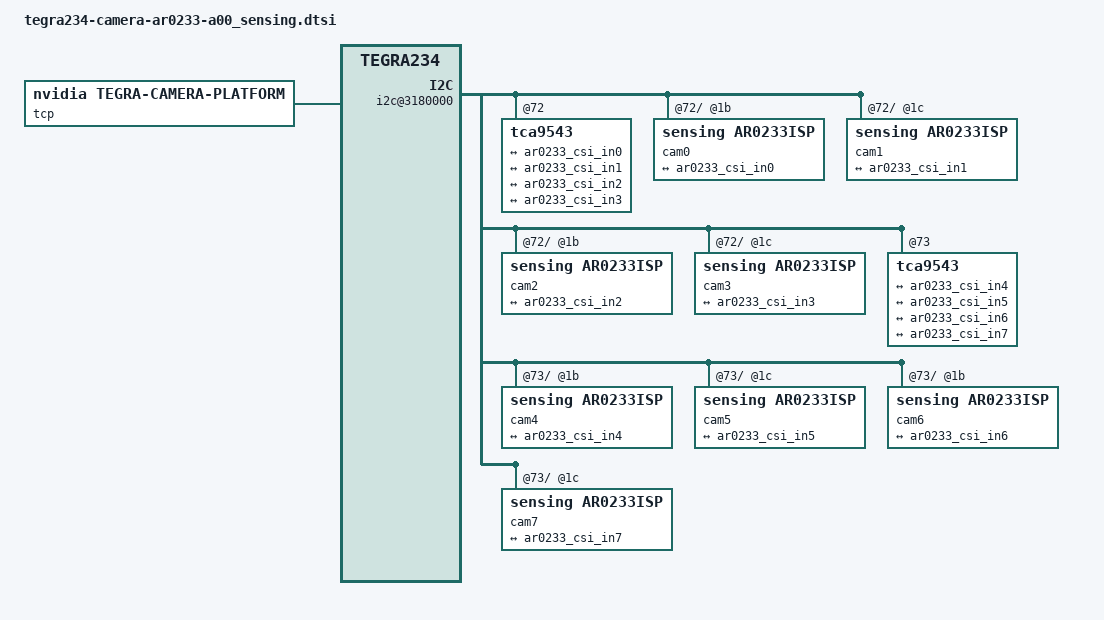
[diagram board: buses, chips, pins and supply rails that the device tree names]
/*
 * Copyright (c) 2018-2021, NVIDIA CORPORATION.  All rights reserved.
 *
 * This program is free software; you can redistribute it and/or modify it
 * under the terms and conditions of the GNU General Public License,
 * version 2, as published by the Free Software Foundation.
 *
 * This program is distributed in the hope it will be useful, but WITHOUT
 * ANY WARRANTY; without even the implied warranty of MERCHANTABILITY or
 * FITNESS FOR A PARTICULAR PURPOSE.  See the GNU General Public License for
 * more details.
 *
 * You should have received a copy of the GNU General Public License
 * along with this program.  If not, see <http://www.gnu.org/licenses/>.
 */
//#include <./tegra234-otocam-camera-all-mode.dtsi>
/ {
	tegra-capture-vi {
		num-channels = <8>;
		ports {
			#address-cells = <1>;
			#size-cells = <0>;
			port@0 {
				reg = <0>;
				ar0233_vi_in0: endpoint {
					vc-id = <0>;
					port-index = <0>;
					bus-width = <4>;
					remote-endpoint = <&ar0233_csi_out0>;
				};
			};
			port@1 {
				reg = <1>;
				ar0233_vi_in1: endpoint {
					vc-id = <1>;
					port-index = <0>;
					bus-width = <4>;
					remote-endpoint = <&ar0233_csi_out1>;
				};
			};
			port@2 {
					reg = <2>;
					ar0233_vi_in2: endpoint {
						vc-id = <0>;
						port-index = <2>;
						bus-width = <4>;
						remote-endpoint = <&ar0233_csi_out2>;
					};
				};
				port@3 {
					reg = <3>;
					ar0233_vi_in3: endpoint {
						vc-id = <1>;
						port-index = <2>;
						bus-width = <4>;
						remote-endpoint = <&ar0233_csi_out3>;
					};
				};
				port@4 {
					reg = <4>;
					ar0233_vi_in4: endpoint {
						vc-id = <0>;
						port-index = <4>;
						bus-width = <4>;
						remote-endpoint = <&ar0233_csi_out4>;
					};
				};
				port@5 {
					reg = <5>;
					ar0233_vi_in5: endpoint {
						vc-id = <1>;
						port-index = <4>;
						bus-width = <4>;
						remote-endpoint = <&ar0233_csi_out5>;
					};
				};
				port@6 {
					reg = <6>;
					ar0233_vi_in6: endpoint {
						vc-id = <0>;
						port-index = <5>;
						bus-width = <4>;
						remote-endpoint = <&ar0233_csi_out6>;
					};
				};
				port@7 {
					reg = <7>;
					ar0233_vi_in7: endpoint {
						vc-id = <1>;
						port-index = <5>;
						bus-width = <4>;
						remote-endpoint = <&ar0233_csi_out7>;
					};
				};
		};
	};

	host1x@13e00000 {
		nvcsi@15a00000 {
			num-channels = <8>;
			#address-cells = <1>;
			#size-cells = <0>;
			channel@0 {
				reg = <0>;
				ports {
					#address-cells = <1>;
					#size-cells = <0>;
					port@0 {
						reg = <0>;
						ar0233_csi_in0: endpoint@0 {
							port-index = <0>;
							bus-width = <4>;
							remote-endpoint = <&ar0233_out0>;
						};
					};
					port@1 {
						reg = <1>;
						ar0233_csi_out0: endpoint@1 {
							remote-endpoint = <&ar0233_vi_in0>;
						};
					};
				};
			};
			channel@1 {
				reg = <1>;
				ports {
					#address-cells = <1>;
					#size-cells = <0>;
					port@0 {
						reg = <0>;
						ar0233_csi_in1: endpoint@2 {
							port-index = <0>;
							bus-width = <4>;
							remote-endpoint = <&ar0233_out1>;
						};
					};
					port@1 {
						reg = <1>;
						ar0233_csi_out1: endpoint@3 {
							remote-endpoint = <&ar0233_vi_in1>;
						};
					};
				};
			};
			channel@2 {
				reg = <2>;
				ports {
					#address-cells = <1>;
					#size-cells = <0>;
					port@0 {
						reg = <0>;
						ar0233_csi_in2: endpoint@4 {
							port-index = <2>;
							bus-width = <4>;
							remote-endpoint = <&ar0233_out2>;
						};
					};
					port@1 {
						reg = <1>;
						ar0233_csi_out2: endpoint@5 {
							remote-endpoint = <&ar0233_vi_in2>;
						};
					};
				};
			};
			channel@3 {
				reg = <3>;
				ports {
					#address-cells = <1>;
					#size-cells = <0>;
					port@0 {
						reg = <0>;
						ar0233_csi_in3: endpoint@6 {
							port-index = <2>;
							bus-width = <4>;
							remote-endpoint = <&ar0233_out3>;
						};
					};
					port@1 {
						reg = <1>;
						ar0233_csi_out3: endpoint@7 {
							remote-endpoint = <&ar0233_vi_in3>;
						};
					};
				};
			};
			channel@4 {
				reg = <4>;
				ports {
					#address-cells = <1>;
					#size-cells = <0>;
					port@0 {
						reg = <0>;
						ar0233_csi_in4: endpoint@8 {
							port-index = <4>;
							bus-width = <4>;
							remote-endpoint = <&ar0233_out4>;
						};
					};
					port@1 {
						reg = <1>;
						ar0233_csi_out4: endpoint@9 {
							remote-endpoint = <&ar0233_vi_in4>;
						};
					};
				};
			};
			channel@5 {
				reg = <5>;
				ports {
					#address-cells = <1>;
					#size-cells = <0>;
					port@0 {
						reg = <0>;
						ar0233_csi_in5: endpoint@10 {
							port-index = <4>;
							bus-width = <4>;
							remote-endpoint = <&ar0233_out5>;
						};
					};
					port@1 {
						reg = <1>;
						ar0233_csi_out5: endpoint@11 {
							remote-endpoint = <&ar0233_vi_in5>;
						};
					};
				};
			};
			channel@6 {
				reg = <6>;
				ports {
					#address-cells = <1>;
					#size-cells = <0>;
					port@0 {
						reg = <0>;
						ar0233_csi_in6: endpoint@12 {
							port-index = <6>;
							bus-width = <4>;
							remote-endpoint = <&ar0233_out6>;
						};
					};
					port@1 {
						reg = <1>;
						ar0233_csi_out6: endpoint@13 {
							remote-endpoint = <&ar0233_vi_in6>;
						};
					};
				};
			};
			channel@7 {
				reg = <7>;
				ports {
					#address-cells = <1>;
					#size-cells = <0>;
					port@0 {
						reg = <0>;
						ar0233_csi_in7: endpoint@14 {
							port-index = <6>;
							bus-width = <4>;
							remote-endpoint = <&ar0233_out7>;
						};
					};
					port@1 {
						reg = <1>;
						ar0233_csi_out7: endpoint@15 {
							remote-endpoint = <&ar0233_vi_in7>;
						};
					};
				};
			};
		};
	};

i2c@3180000 {
		tca9543@72 {
		i2c@0 {
		cam0@1b {
				compatible = "sensing,ar0233isp";

				def-addr = <0x10>;	
				reg_mux = <0x0>;
				/* Physical dimensions of sensor */
				physical_w = "15.0";
				physical_h = "12.5";

				sensor_model ="ar0233";

				/* Defines number of frames to be dropped by driver internally after applying */
				/* sensor crop settings. Some sensors send corrupt frames after applying */
				/* crop co-ordinates */
				post_crop_frame_drop = "0";

				/* Convert Gain to unit of dB (decibel) befor passing to kernel driver */
				//use_decibel_gain = "true";	// FIX:?

				/* enable CID_SENSOR_MODE_ID for sensor modes selection */
				use_sensor_mode_id = "true";
				mode0 {
					mclk_khz = "24000";
					tegra_sinterface = "serial_a";
					vc_id = "0";
					num_lanes = "4";
					discontinuous_clk = "no";
					dpcm_enable = "false";
					cil_settletime = "0";
					mode_type = "yuv";
					pixel_phase = "uyvy";
					csi_pixel_bit_depth = "16";
					dynamic_pixel_bit_depth = "16";

					active_w = "1920";
					active_h = "1080";
					readout_orientation = "0";
					line_length = "2200";
					inherent_gain = "1";
					pix_clk_hz = "74250000";	
					//pix_clk_hz = "74250000";//test
					serdes_pix_clk_hz = "1875000000";

					gain_factor = "100";
					min_gain_val = "100"; /* dB */
					max_gain_val = "800"; /* dB */
					step_gain_val = "1"; /* 0.3 */
					default_gain = "100";
					min_hdr_ratio = "1";
					max_hdr_ratio = "1";
					framerate_factor = "1000000";
					min_framerate = "30000000";
					max_framerate = "30000000";
					step_framerate = "1";
					default_framerate = "30000000";
					exposure_factor = "1000000";
					min_exp_time = "49"; /*us, 2 lines*/
					max_exp_time = "33333";
					step_exp_time = "1";
					default_exp_time = "33333";/* us */
					embedded_metadata_height = "0";
					
				};
				ports {
					#address-cells = <1>;
					#size-cells = <0>;
					port@0 {
						reg = <0>;
						ar0233_out0: endpoint {
							vc-id = <0>;
							port-index = <0>;
							bus-width = <4>;
							remote-endpoint = <&ar0233_csi_in0>;
						};
					};
				};
				gmsl-link {
					src-csi-port = "b";
					dst-csi-port = "a";
					serdes-csi-link = "a";
					csi-mode = "1x4";
					st-vc = <0>;
					vc-id = <0>;
					num-lanes = <4>;
					streams = "yuv8";	// FIX:*
					//streams = "ued-u1", "raw12";	// FIX:-
				};
			};


			cam1@1c{
				compatible = "sensing,ar0233isp";

				def-addr = <0x10>;	// FIX:+
				//reg = <0x1b>;	// FIX:-

				/* Physical dimensions of sensor */
				physical_w = "15.0";
				physical_h = "12.5";
				reg_mux = <0>;
				sensor_model ="ar0233";

				/* Defines number of frames to be dropped by driver internally after applying */
				/* sensor crop settings. Some sensors send corrupt frames after applying */
				/* crop co-ordinates */
				post_crop_frame_drop = "0";

				/* Convert Gain to unit of dB (decibel) befor passing to kernel driver */
				//use_decibel_gain = "true";	// FIX:?

				/* enable CID_SENSOR_MODE_ID for sensor modes selection */
				use_sensor_mode_id = "true";
				mode0 {
					
					tegra_sinterface = "serial_a";
					vc_id = "1";
					mclk_khz = "24000";
					num_lanes = "4";
					discontinuous_clk = "no";
					dpcm_enable = "false";
					cil_settletime = "0";
					mode_type = "yuv";
					pixel_phase = "uyvy";
					csi_pixel_bit_depth = "16";
					dynamic_pixel_bit_depth = "16";
					
					active_w = "1920";
					active_h = "1080";
					readout_orientation = "0";
					line_length = "2200";
					inherent_gain = "1";
					pix_clk_hz = "74250000";
                                        serdes_pix_clk_hz = "1875000000";	// FIX:* 74250000

					gain_factor = "100";
					min_gain_val = "100"; /* dB */
					max_gain_val = "800"; /* dB */
					step_gain_val = "1"; /* 0.3 */
					default_gain = "100";
					min_hdr_ratio = "1";
					max_hdr_ratio = "1";
					framerate_factor = "1000000";
					min_framerate = "30000000";
					max_framerate = "30000000";
					step_framerate = "1";
					default_framerate = "30000000";
					exposure_factor = "1000000";
					min_exp_time = "49"; /*us, 2 lines*/
					max_exp_time = "33333";
					step_exp_time = "1";
					default_exp_time = "33333";/* us */
					embedded_metadata_height = "0";
				};
				ports {
					#address-cells = <1>;
					#size-cells = <0>;
					port@0 {
						reg = <0>;
						ar0233_out1: endpoint {
							vc-id = <1>;
							port-index = <0>;
							bus-width = <4>;
							remote-endpoint = <&ar0233_csi_in1>;
						};
					};
				};
				gmsl-link {
					src-csi-port = "b";
					dst-csi-port = "a";
					serdes-csi-link = "b";
					csi-mode = "1x4";
					st-vc = <0>;
					vc-id = <1>;
					num-lanes = <4>;
					streams = "yuv8";	// FIX:*
				};
			};
			
			};

		     i2c@1 {
			cam2@1b {
				compatible = "sensing,ar0233isp";

				def-addr = <0x10>;	// FIX:+
				//reg = <0x1b>;	// FIX:-

				/* Physical dimensions of sensor */
				physical_w = "15.0";
				physical_h = "12.5";
				 reg_mux = <1>;
				sensor_model ="ar0233";

				/* Defines number of frames to be dropped by driver internally after applying */
				/* sensor crop settings. Some sensors send corrupt frames after applying */
				/* crop co-ordinates */
				post_crop_frame_drop = "0";

				/* Convert Gain to unit of dB (decibel) befor passing to kernel driver */
				//use_decibel_gain = "true";	// FIX:?

				/* enable CID_SENSOR_MODE_ID for sensor modes selection */
				use_sensor_mode_id = "true";

				mode0 {
					tegra_sinterface = "serial_c";
					vc_id = "0";
					mclk_khz = "24000";
					num_lanes = "4";
					discontinuous_clk = "no";
					dpcm_enable = "false";
					cil_settletime = "0";
					mode_type = "yuv";
					pixel_phase = "uyvy";
					csi_pixel_bit_depth = "16";
					dynamic_pixel_bit_depth = "16";
					
					active_w = "1920";
					active_h = "1080";
					readout_orientation = "0";
					line_length = "2200";
					inherent_gain = "1";
					pix_clk_hz = "74250000";
                                                serdes_pix_clk_hz = "1875000000";	// FIX:* 74250000
					//serdes_pix_clk_hz = "200000000";	// FIX:-

					gain_factor = "100";
					min_gain_val = "100"; /* dB */
					max_gain_val = "800"; /* dB */
					step_gain_val = "1"; /* 0.3 */
					default_gain = "100";
					min_hdr_ratio = "1";
					max_hdr_ratio = "1";
					framerate_factor = "1000000";
					min_framerate = "30000000";
					max_framerate = "30000000";
					step_framerate = "1";
					default_framerate = "30000000";
					exposure_factor = "1000000";
					min_exp_time = "49"; /*us, 2 lines*/
					max_exp_time = "33333";
					step_exp_time = "1";
					default_exp_time = "33333";/* us */
					embedded_metadata_height = "0";
				};
				ports {
					#address-cells = <1>;
					#size-cells = <0>;
					port@0 {
						reg = <0>;
						ar0233_out2: endpoint {
							vc-id = <0>;
							port-index = <2>;
							bus-width = <4>;
							remote-endpoint = <&ar0233_csi_in2>;
						};
					};
				};
				gmsl-link {
					src-csi-port = "b";
					dst-csi-port = "a";
					serdes-csi-link = "a";
					csi-mode = "1x4";
					st-vc = <0>;
					vc-id = <0>;
					num-lanes = <4>;
					streams = "yuv8";
				};
			};

			cam3@1c {
				compatible = "sensing,ar0233isp";

				def-addr = <0x10>;	// FIX:+
				//reg = <0x1b>;	// FIX:-
				 reg_mux = <1>;
				/* Physical dimensions of sensor */
				physical_w = "15.0";
				physical_h = "12.5";

				sensor_model ="ar0233";

				/* Defines number of frames to be dropped by driver internally after applying */
				/* sensor crop settings. Some sensors send corrupt frames after applying */
				/* crop co-ordinates */
				post_crop_frame_drop = "0";

				/* Convert Gain to unit of dB (decibel) befor passing to kernel driver */
				//use_decibel_gain = "true";	// FIX:?

				/* enable CID_SENSOR_MODE_ID for sensor modes selection */
				use_sensor_mode_id = "true";
				mode0 {
					tegra_sinterface = "serial_c";
					vc_id = "1";
					mclk_khz = "24000";
					num_lanes = "4";
					discontinuous_clk = "no";
					dpcm_enable = "false";
					cil_settletime = "0";
					mode_type = "yuv";
					pixel_phase = "uyvy";
					csi_pixel_bit_depth = "16";
					dynamic_pixel_bit_depth = "16";
					
					active_w = "1920";
					active_h = "1080";
					readout_orientation = "0";
					line_length = "2200";
					inherent_gain = "1";
					pix_clk_hz = "74250000";
                                                serdes_pix_clk_hz = "1875000000";	// FIX:* 74250000
					//serdes_pix_clk_hz = "200000000";	// FIX:-

						gain_factor = "100";
					min_gain_val = "100"; /* dB */
					max_gain_val = "800"; /* dB */
					step_gain_val = "1"; /* 0.3 */
					default_gain = "100";
					min_hdr_ratio = "1";
					max_hdr_ratio = "1";
					framerate_factor = "1000000";
					min_framerate = "30000000";
					max_framerate = "30000000";
					step_framerate = "1";
					default_framerate = "30000000";
					exposure_factor = "1000000";
					min_exp_time = "49"; /*us, 2 lines*/
					max_exp_time = "33333";
					step_exp_time = "1";
					default_exp_time = "33333";/* us */
					embedded_metadata_height = "0";
				};
				ports {
					#address-cells = <1>;
					#size-cells = <0>;
					port@0 {
						reg = <0>;
						ar0233_out3: endpoint {
							vc-id = <1>;
							port-index = <2>;
							bus-width = <4>;
							remote-endpoint = <&ar0233_csi_in3>;
						};
					};
				};
				gmsl-link {
					src-csi-port = "b";
					dst-csi-port = "a";
					serdes-csi-link = "b";
					csi-mode = "1x4";
					st-vc = <0>;
					vc-id = <1>;
					num-lanes = <4>;
					streams = "yuv8";
				};
			
			};
			};
			};
			
			tca9543@73{
			i2c@0 {
			cam4@1b {
				compatible = "sensing,ar0233isp";

				def-addr = <0x10>;	// FIX:+
				//reg = <0x1b>;	// FIX:-
				 reg_mux = <2>;
				/* Physical dimensions of sensor */
				physical_w = "15.0";
				physical_h = "12.5";

				sensor_model ="ar0233";

				/* Defines number of frames to be dropped by driver internally after applying */
				/* sensor crop settings. Some sensors send corrupt frames after applying */
				/* crop co-ordinates */
				post_crop_frame_drop = "0";

				/* Convert Gain to unit of dB (decibel) befor passing to kernel driver */
				//use_decibel_gain = "true";	// FIX:?

				/* enable CID_SENSOR_MODE_ID for sensor modes selection */
				use_sensor_mode_id = "true";

				mode0 {
					tegra_sinterface = "serial_e";
					vc_id = "0";
					mclk_khz = "24000";
					num_lanes = "4";
					discontinuous_clk = "no";
					dpcm_enable = "false";
					cil_settletime = "0";
					mode_type = "yuv";
					pixel_phase = "uyvy";
					csi_pixel_bit_depth = "16";
					dynamic_pixel_bit_depth = "16";

					active_w = "1920";
					active_h = "1080";
					readout_orientation = "0";
					line_length = "2200";
					inherent_gain = "1";
					pix_clk_hz = "74250000";
                                                serdes_pix_clk_hz = "1875000000";	// FIX:* 74250000
					//serdes_pix_clk_hz = "200000000";	// FIX:-

					gain_factor = "100";
					min_gain_val = "100"; /* dB */
					max_gain_val = "800"; /* dB */
					step_gain_val = "1"; /* 0.3 */
					default_gain = "100";
					min_hdr_ratio = "1";
					max_hdr_ratio = "1";
					framerate_factor = "1000000";
					min_framerate = "30000000";
					max_framerate = "30000000";
					step_framerate = "1";
					default_framerate = "30000000";
					exposure_factor = "1000000";
					min_exp_time = "49"; /*us, 2 lines*/
					max_exp_time = "33333";
					step_exp_time = "1";
					default_exp_time = "33333";/* us */
					embedded_metadata_height = "0";
				};
				ports {
					#address-cells = <1>;
					#size-cells = <0>;
					port@0 {
						reg = <0>;
						ar0233_out4: endpoint {
							vc-id = <0>;
							port-index = <4>;
							bus-width = <4>;
							remote-endpoint = <&ar0233_csi_in4>;
						};
					};
				};
				gmsl-link {
					src-csi-port = "b";
					dst-csi-port = "a";
					serdes-csi-link = "a";
					csi-mode = "1x4";
					st-vc = <0>;
					vc-id = <0>;
					num-lanes = <4>;
					streams = "yuv8";
					//streams = "ued-u1", "raw12";	// FIX:-
				};
			};
			
			cam5@1c {
				compatible = "sensing,ar0233isp";

				def-addr = <0x10>;	// FIX:+
				//reg = <0x1b>;	// FIX:-
				reg_mux = <2>;
				/* Physical dimensions of sensor */
				physical_w = "15.0";
				physical_h = "12.5";

				sensor_model ="ar0233";

				/* Defines number of frames to be dropped by driver internally after applying */
				/* sensor crop settings. Some sensors send corrupt frames after applying */
				/* crop co-ordinates */
				post_crop_frame_drop = "0";

				/* Convert Gain to unit of dB (decibel) befor passing to kernel driver */
				//use_decibel_gain = "true";	// FIX:?

				/* enable CID_SENSOR_MODE_ID for sensor modes selection */
				use_sensor_mode_id = "true";
				mode0 {
					tegra_sinterface = "serial_e";
					vc_id = "1";
					mclk_khz = "24000";
					num_lanes = "4";
					discontinuous_clk = "no";
					dpcm_enable = "false";
					cil_settletime = "0";
					mode_type = "yuv";
					pixel_phase = "uyvy";
					csi_pixel_bit_depth = "16";
					dynamic_pixel_bit_depth = "16";

					active_w = "1920";
					active_h = "1080";
					readout_orientation = "0";
					line_length = "2200";
					inherent_gain = "1";
					pix_clk_hz = "74250000";
                                                serdes_pix_clk_hz = "1875000000";	// FIX:* 74250000
					//serdes_pix_clk_hz = "200000000";	// FIX:-

					gain_factor = "100";
					min_gain_val = "100"; /* dB */
					max_gain_val = "800"; /* dB */
					step_gain_val = "1"; /* 0.3 */
					default_gain = "100";
					min_hdr_ratio = "1";
					max_hdr_ratio = "1";
					framerate_factor = "1000000";
					min_framerate = "30000000";
					max_framerate = "30000000";
					step_framerate = "1";
					default_framerate = "30000000";
					exposure_factor = "1000000";
					min_exp_time = "49"; /*us, 2 lines*/
					max_exp_time = "33333";
					step_exp_time = "1";
					default_exp_time = "33333";/* us */
					embedded_metadata_height = "0";
				};
				ports {
					#address-cells = <1>;
					#size-cells = <0>;
					port@0 {
						reg = <0>;
						ar0233_out5: endpoint {
							vc-id = <1>;
							port-index = <4>;
							bus-width = <4>;
							remote-endpoint = <&ar0233_csi_in5>;
						};
					};
				};
				gmsl-link {
					src-csi-port = "b";
					dst-csi-port = "a";
					serdes-csi-link = "b";
					csi-mode = "1x4";
					st-vc = <0>;
					vc-id = <1>;
					num-lanes = <4>;
					streams = "yuv8";
				};
			};
			};
			
			i2c@1 {
			cam6@1b {
				compatible = "sensing,ar0233isp";

				def-addr = <0x10>;	// FIX:+
				//reg = <0x1b>;	// FIX:-
				reg_mux = <3>;
				/* Physical dimensions of sensor */
				physical_w = "15.0";
				physical_h = "12.5";

				sensor_model ="ar0233";

				/* Defines number of frames to be dropped by driver internally after applying */
				/* sensor crop settings. Some sensors send corrupt frames after applying */
				/* crop co-ordinates */
				post_crop_frame_drop = "0";

				/* Convert Gain to unit of dB (decibel) befor passing to kernel driver */
				//use_decibel_gain = "true";	// FIX:?

				/* enable CID_SENSOR_MODE_ID for sensor modes selection */
				use_sensor_mode_id = "true";
				mode0 {
					tegra_sinterface = "serial_g";
					vc_id = "0";
					mclk_khz = "24000";
					num_lanes = "4";
					discontinuous_clk = "no";
					dpcm_enable = "false";
					cil_settletime = "0";
					mode_type = "yuv";
					pixel_phase = "uyvy";
					csi_pixel_bit_depth = "16";
					dynamic_pixel_bit_depth = "16";

					active_w = "1920";
					active_h = "1080";
					readout_orientation = "0";
					line_length = "2200";
					inherent_gain = "1";
					pix_clk_hz = "74250000";
                                                serdes_pix_clk_hz = "1875000000";	// FIX:* 74250000
					//serdes_pix_clk_hz = "200000000";	// FIX:-

					gain_factor = "100";
					min_gain_val = "100"; /* dB */
					max_gain_val = "800"; /* dB */
					step_gain_val = "1"; /* 0.3 */
					default_gain = "100";
					min_hdr_ratio = "1";
					max_hdr_ratio = "1";
					framerate_factor = "1000000";
					min_framerate = "30000000";
					max_framerate = "30000000";
					step_framerate = "1";
					default_framerate = "30000000";
					exposure_factor = "1000000";
					min_exp_time = "49"; /*us, 2 lines*/
					max_exp_time = "33333";
					step_exp_time = "1";
					default_exp_time = "33333";/* us */
					embedded_metadata_height = "0";
				};
				ports {
					#address-cells = <1>;
					#size-cells = <0>;
					port@0 {
						reg = <0>;
						ar0233_out6: endpoint {
							vc-id = <0>;
							port-index = <6>;
							bus-width = <4>;
							remote-endpoint = <&ar0233_csi_in6>;
						};
					};
				};
				gmsl-link {
					src-csi-port = "b";
					dst-csi-port = "a";
					serdes-csi-link = "a";
					csi-mode = "1x4";
					st-vc = <0>;
					vc-id = <0>;
					num-lanes = <4>;
					streams = "yuv8";
				};
			};
			
			cam7@1c {
				compatible = "sensing,ar0233isp";
				reg_mux = <3>;
				def-addr = <0x10>;	// FIX:+
				//reg = <0x1b>;	// FIX:-

				/* Physical dimensions of sensor */
				physical_w = "15.0";
				physical_h = "12.5";

				sensor_model ="ar0233";

				/* Defines number of frames to be dropped by driver internally after applying */
				/* sensor crop settings. Some sensors send corrupt frames after applying */
				/* crop co-ordinates */
				post_crop_frame_drop = "0";

				/* Convert Gain to unit of dB (decibel) befor passing to kernel driver */
				//use_decibel_gain = "true";	// FIX:?

				/* enable CID_SENSOR_MODE_ID for sensor modes selection */
				use_sensor_mode_id = "true";
				mode0 {
					tegra_sinterface = "serial_g";
					vc_id = "1";
					mclk_khz = "24000";
					num_lanes = "4";
					discontinuous_clk = "no";
					dpcm_enable = "false";
					cil_settletime = "0";
					mode_type = "yuv";
					pixel_phase = "uyvy";
					csi_pixel_bit_depth = "16";
					dynamic_pixel_bit_depth = "16";

					active_w = "1920";
					active_h = "1080";
					readout_orientation = "0";
					line_length = "2200";
					inherent_gain = "1";
					pix_clk_hz = "74250000";
                                                serdes_pix_clk_hz = "1875000000";	// FIX:* 74250000
					//serdes_pix_clk_hz = "200000000";	// FIX:-

					gain_factor = "100";
					min_gain_val = "100"; /* dB */
					max_gain_val = "800"; /* dB */
					step_gain_val = "1"; /* 0.3 */
					default_gain = "100";
					min_hdr_ratio = "1";
					max_hdr_ratio = "1";
					framerate_factor = "1000000";
					min_framerate = "30000000";
					max_framerate = "30000000";
					step_framerate = "1";
					default_framerate = "30000000";
					exposure_factor = "1000000";
					min_exp_time = "49"; /*us, 2 lines*/
					max_exp_time = "33333";
					step_exp_time = "1";
					default_exp_time = "33333";/* us */
					embedded_metadata_height = "0";
				};
				ports {
					#address-cells = <1>;
					#size-cells = <0>;
					port@0 {
						reg = <0>;
						ar0233_out7: endpoint {
							vc-id = <1>;
							port-index = <6>;
							bus-width = <4>;
							remote-endpoint = <&ar0233_csi_in7>;
						};
					};
				};
				gmsl-link {
					src-csi-port = "b";
					dst-csi-port = "a";
					serdes-csi-link = "b";
					csi-mode = "1x4";
					st-vc = <0>;
					vc-id = <1>;
					num-lanes = <4>;
					streams = "yuv8";
				};
			};
		};
		};
};


};

/ {

	tcp: tegra-camera-platform {
		compatible = "nvidia, tegra-camera-platform";
		/**
		* Physical settings to calculate max ISO BW
		*
		* num_csi_lanes = <>;
		* Total number of CSI lanes when all cameras are active
		*
		* max_lane_speed = <>;
		* Max lane speed in Kbit/s
		*
		* min_bits_per_pixel = <>;
		* Min bits per pixel
		*
		* vi_peak_byte_per_pixel = <>;
		* Max byte per pixel for the VI ISO case
		*
		* vi_bw_margin_pct = <>;
		* Vi bandwidth margin in percentage
		*
		* max_pixel_rate = <>;
		* Max pixel rate in Kpixel/s for the ISP ISO case
		*
		* isp_peak_byte_per_pixel = <>;
		* Max byte per pixel for the ISP ISO case
		*
		* isp_bw_margin_pct = <>;
		* Isp bandwidth margin in percentage
		*/
		num_csi_lanes = <0x10>;
//#ifdef CAM_SERDES_GMSL)
		max_lane_speed = <0x180000>;
//#else	// CAM_SERDES_FPDL
//		max_lane_speed = <1500000>;	// FIX:?
//#endif
		min_bits_per_pixel = <10>;	// FIX:* 10
		vi_peak_byte_per_pixel = <2>;
		vi_bw_margin_pct = <0x19>;
		//max_pixel_rate = <800000>;	// FIX:? 160|200|300|750
		isp_peak_byte_per_pixel = <5>;
		isp_bw_margin_pct = <0x19>;

		/**
		 * The general guideline for naming badge_info contains 3 parts, and is as follows,
		 * The first part is the camera_board_id for the module; if the module is in a FFD
		 * platform, then use the platform name for this part.
		 * The second part contains the position of the module, ex. "rear" or "front".
		 * The third part contains the last 6 characters of a part number which is found
		 * in the module's specsheet from the vender.
		 */
		modules {
			module0 {
				badge = "ar0233_rear";
				position = "rear";
				orientation = "1";
				drivernode0 {
					/* Declare PCL support driver (classically known as guid)  */
					pcl_id = "v4l2_sensor";
					/* Driver v4l2 device name */
					devname = "ar0233 30-001b";
					/* Declare the device-tree hierarchy to driver instance */
					proc-device-tree = "/proc/device-tree/i2c@3180000/tca9543@72/i2c@0/cam0@1b";
				};
			};
			module1 {
				badge = "ar0233_front";
				position = "front";
				orientation = "1";
				drivernode0 {
					/* Declare PCL support driver (classically known as guid)  */
					pcl_id = "v4l2_sensor";
					/* Driver v4l2 device name */
					devname = "ar0233 30-001c";
					/* Declare the device-tree hierarchy to driver instance */
					proc-device-tree = "/proc/device-tree/i2c@3180000/tca9543@72/i2c@/cam1@1c";
				};
			};
			module2 {
				badge = "ar0233_left";
				position = "topright";	// topleft
				orientation = "1";
				drivernode0 {
					/* Declare PCL support driver (classically known as guid)  */
					pcl_id = "v4l2_sensor";
					/* Driver v4l2 device name */
					devname = "ar0233 31-001b";
					/* Declare the device-tree hierarchy to driver instance */
					proc-device-tree = "/proc/device-tree/i2c@3180000/tca9543@72/i2c@1/cam2@1b";
				};
			};
			module3 {
				badge = "ar0233_right";
				position = "bottomright";	// topright
				orientation = "1";
				drivernode0 {
					/* Declare PCL support driver (classically known as guid)  */
					pcl_id = "v4l2_sensor";
					/* Driver v4l2 device name */
					devname = "ar0233 31-001c";
					/* Declare the device-tree hierarchy to driver instance */
					proc-device-tree = "//proc/device-tree/i2c@3180000/tca9543@72/i2c@1/cam3@1c";
				};
			};
			module4 {
				badge = "ar0233_right";
				position = "topleft";	// topright
				orientation = "1";
				drivernode0 {
					/* Declare PCL support driver (classically known as guid)  */
					pcl_id = "v4l2_sensor";
					/* Driver v4l2 device name */
					devname = "ar0233 32-001b";
					/* Declare the device-tree hierarchy to driver instance */
					proc-device-tree = "/proc/device-tree/i2c@3180000/tca9543@73/i2c@0/cam4@1b";
				};
			};
			module5 {
				badge = "ar0233_right";
				position = "centerright";	// topright
				orientation = "1";
				drivernode0 {
					/* Declare PCL support driver (classically known as guid)  */
					pcl_id = "v4l2_sensor";
					/* Driver v4l2 device name */
					devname = "ar0233 32-001c";
					/* Declare the device-tree hierarchy to driver instance */
					proc-device-tree = "/proc/device-tree/i2c@3180000/tca9543@73/i2c@0/cam5@1c";
				};
			};
			module6 {
				badge = "ar0233_right";
				position = "centerleft";	// topright
				orientation = "1";
				drivernode0 {
					/* Declare PCL support driver (classically known as guid)  */
					pcl_id = "v4l2_sensor";
					/* Driver v4l2 device name */
					devname = "ar0233 33-001b";
					/* Declare the device-tree hierarchy to driver instance */
					proc-device-tree = "/proc/device-tree/i2c@3180000/tca9543@73/i2c@1/cam6@1b";
				};
			};
			module7 {
				badge = "ar0233_right";
				position = "bottomleft";	// topright
				orientation = "1";
				drivernode0 {
					/* Declare PCL support driver (classically known as guid)  */
					pcl_id = "v4l2_sensor";
					/* Driver v4l2 device name */
					devname = "ar0233 33-001c";
					/* Declare the device-tree hierarchy to driver instance */
					proc-device-tree = "/proc/device-tree/i2c@3180000/tca9543@73/i2c@1/cam7@1c";
				};
			};
		};
	};
};
